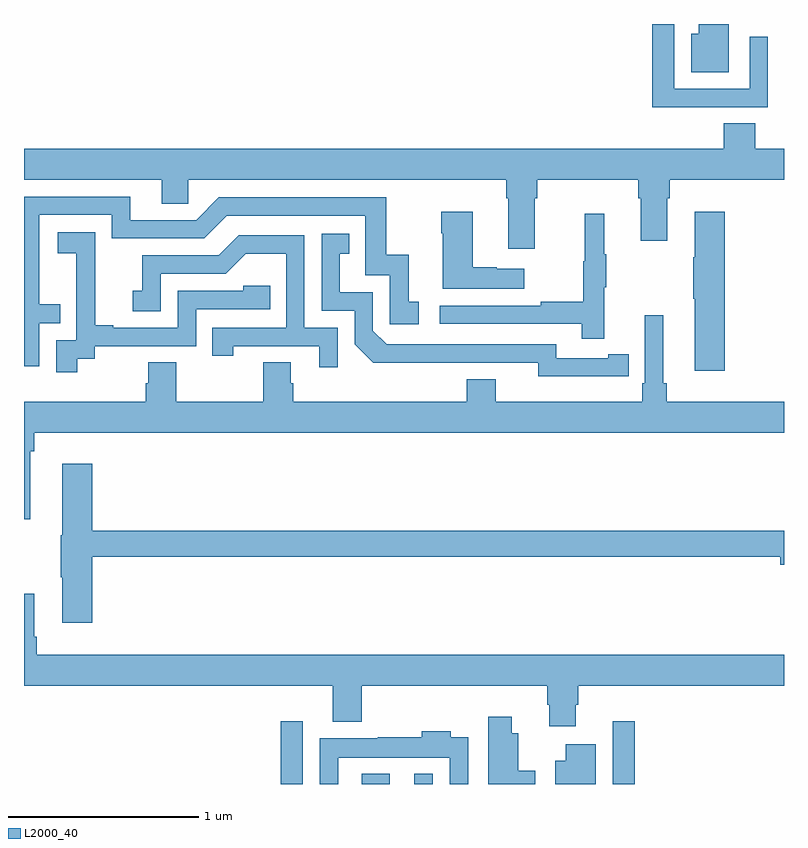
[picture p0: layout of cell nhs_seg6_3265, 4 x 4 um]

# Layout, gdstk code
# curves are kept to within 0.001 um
import gdstk
lib = gdstk.Library(unit=1e-6, precision=1e-09)
def R(c, l, rs):  # rectangles x0, y0, x1, y1
    for r in rs: c.add(gdstk.rectangle(r[:2], r[2:], *l))
def P(c, l, *ps):  # polygons
    for p in ps: c.add(gdstk.Polygon(p, *l))
L2000_40 = (2000, 40)

nhs_seg6_3265 = lib.new_cell('nhs_seg6_3265')
R(nhs_seg6_3265, L2000_40, [(304.351,933.5,304.467,933.829), (304.778,933.5,304.924,933.553), (305.054,933.5,305.151,933.553), (306.099,933.5,306.215,933.829)])
P(nhs_seg6_3265, L2000_40, [(306.599,937.062),(306.915,937.062),(306.915,937.432),(306.819,937.432),(306.819,937.158),(306.423,937.158),(306.423,937.5),(306.307,937.5),(306.307,937.061),(306.599,937.061)],
  [(306.709,937.5),(306.551,937.5),(306.551,937.45),(306.512,937.45),(306.512,937.247),(306.709,937.247)],
  [(305.689,936.584),(305.702,936.584),(305.702,936.68),(306.233,936.68),(306.233,936.584),(306.245,936.584),(306.245,936.36),(306.385,936.36),(306.385,936.584),(306.398,936.584),(306.398,936.68),(307,936.68),(307,936.844),(306.848,936.844),(306.848,936.977),(306.683,936.977),(306.683,936.844),(303,936.844),(303,936.68),(303.725,936.68),(303.725,936.553),(303.864,936.553),(303.864,936.68),(305.537,936.68),(305.537,936.584),(305.549,936.584),(305.549,936.318),(305.689,936.318)],
  [(303.081,935.925),(303.191,935.925),(303.191,936.026),(303.081,936.026),(303.081,936.495),(303.462,936.495),(303.462,936.372),(303.948,936.372),(304.068,936.492),(304.797,936.492),(304.797,936.177),(304.926,936.177),(304.926,935.919),(305.077,935.919),(305.077,936.039),(305.024,936.039),(305.024,936.286),(304.906,936.286),(304.906,936.588),(304.026,936.588),(303.906,936.468),(303.559,936.468),(303.559,936.591),(303,936.591),(303,935.7),(303.081,935.7)],
  [(306.689,936.511),(306.53,936.511),(306.53,936.272),(306.523,936.272),(306.523,936.055),(306.53,936.055),(306.53,935.676),(306.689,935.676)],
  [(305.632,936.211),(305.489,936.211),(305.489,936.221),(305.362,936.221),(305.362,936.511),(305.197,936.511),(305.197,936.398),(305.204,936.398),(305.204,936.107),(305.632,936.107)],
  [(306.053,936.115),(306.064,936.115),(306.064,936.289),(306.053,936.289),(306.053,936.502),(305.95,936.502),(305.95,936.252),(305.943,936.252),(305.943,936.038),(305.719,936.038),(305.719,936.018),(305.187,936.018),(305.187,935.922),(305.935,935.922),(305.935,935.844),(306.053,935.844)],
  [(303.28,935.737),(303.372,935.737),(303.372,935.805),(303.906,935.805),(303.906,936),(304.295,936),(304.295,936.123),(304.155,936.123),(304.155,936.096),(303.81,936.096),(303.81,935.901),(303.469,935.901),(303.469,935.914),(303.374,935.914),(303.374,936.197),(303.375,936.197),(303.375,936.403),(303.177,936.403),(303.177,936.293),(303.275,936.293),(303.275,936.065),(303.276,936.065),(303.276,935.835),(303.171,935.835),(303.171,935.667),(303.28,935.667)],
  [(306.074,935.646),(306.182,935.646),(306.182,935.762),(306.074,935.762),(306.074,935.742),(305.802,935.742),(305.802,935.814),(304.908,935.814),(304.836,935.886),(304.836,936.087),(304.663,936.087),(304.663,936.291),(304.712,936.291),(304.712,936.397),(304.566,936.397),(304.566,935.991),(304.74,935.991),(304.74,935.814),(304.838,935.717),(305.706,935.718),(305.706,935.645)],
  [(304.65,935.901),(304.476,935.901),(304.476,936.387),(304.13,936.387),(304.025,936.282),(303.622,936.282),(303.622,936.097),(303.573,936.097),(303.573,935.988),(303.72,935.988),(303.72,936.186),(304.062,936.186),(304.166,936.29),(304.38,936.29),(304.38,935.901),(303.991,935.901),(303.991,935.754),(304.102,935.754),(304.102,935.805),(304.553,935.805),(304.553,935.694),(304.65,935.694)],
  [(307,935.512),(306.383,935.512),(306.383,935.608),(306.364,935.608),(306.364,935.968),(306.267,935.968),(306.267,935.608),(306.254,935.608),(306.254,935.512),(305.482,935.512),(305.482,935.629),(305.33,935.629),(305.33,935.512),(304.418,935.512),(304.418,935.61),(304.405,935.61),(304.405,935.72),(304.258,935.72),(304.258,935.512),(303.801,935.512),(303.801,935.72),(303.653,935.72),(303.653,935.61),(303.641,935.61),(303.641,935.512),(303,935.512),(303,934.893),(303.034,934.893),(303.034,935.252),(303.053,935.252),(303.053,935.348),(307,935.348)],
  [(303.359,934.696),(306.98,934.696),(306.98,934.654),(307,934.654),(307,934.832),(303.359,934.832),(303.359,935.185),(303.2,935.185),(303.2,934.809),(303.193,934.809),(303.193,934.588),(303.2,934.588),(303.2,934.35),(303.359,934.35)],
  [(305.905,933.918),(305.918,933.918),(305.918,934.016),(307,934.016),(307,934.18),(303.068,934.18),(303.068,934.276),(303.055,934.276),(303.055,934.501),(303,934.501),(303,934.016),(304.625,934.016),(304.625,933.827),(304.778,933.827),(304.778,934.016),(305.753,934.016),(305.753,933.918),(305.765,933.918),(305.765,933.804),(305.905,933.804)],
  [(305.692,933.57),(305.602,933.57),(305.602,933.766),(305.566,933.766),(305.566,933.853),(305.444,933.853),(305.444,933.5),(305.692,933.5)],
  [(304.653,933.638),(305.241,933.638),(305.241,933.5),(305.337,933.5),(305.337,933.745),(305.245,933.745),(305.245,933.778),(305.093,933.778),(305.093,933.745),(304.861,933.745),(304.861,933.742),(304.557,933.742),(304.557,933.5),(304.653,933.5)],
  [(306.01,933.709),(305.852,933.709),(305.852,933.622),(305.795,933.622),(305.795,933.5),(306.01,933.5)])

lib.write_gds('nhs_seg6_3265.gds')
